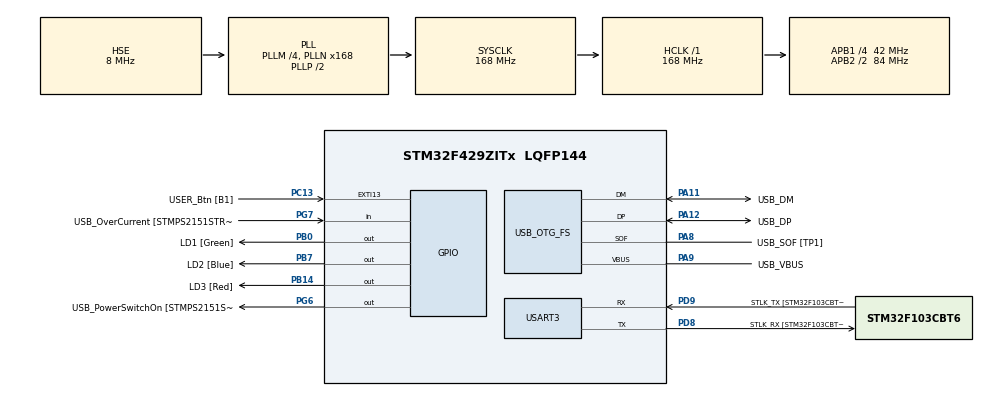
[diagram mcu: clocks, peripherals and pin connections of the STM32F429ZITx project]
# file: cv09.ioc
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Mcu.Family=STM32F4
Mcu.Name=STM32F429ZITx
Mcu.Package=LQFP144
NVIC.OTG_FS_IRQn=true\:0\:0\:false\:false\:true\:false\:true
NVIC.PriorityGroup=NVIC_PRIORITYGROUP_4
PA1.GPIO_Label=RMII_REF_CLK [LAN8742A-CZ-TR_REFCLK0]
PA1.Signal=ETH_REF_CLK
PA10.GPIO_Label=USB_ID
PA10.Signal=USB_OTG_FS_ID
PA11.GPIO_Label=USB_DM
PA11.Mode=Device_Only
PA11.Signal=USB_OTG_FS_DM
PA12.GPIO_Label=USB_DP
PA12.Mode=Device_Only
PA12.Signal=USB_OTG_FS_DP
PA13.GPIO_Label=TMS
PA13.Mode=Serial_Wire
PA13.Signal=SYS_JTMS-SWDIO
PA14.GPIO_Label=TCK
PA14.Mode=Serial_Wire
PA14.Signal=SYS_JTCK-SWCLK
PA2.GPIO_Label=RMII_MDIO [LAN8742A-CZ-TR_MDIO]
PA2.Signal=ETH_MDIO
PA7.GPIO_Label=RMII_CRS_DV [LAN8742A-CZ-TR_CRS_DV]
PA7.Signal=ETH_CRS_DV
PA8.GPIO_Label=USB_SOF [TP1]
PA8.Mode=Activate_SOF_FS
PA8.Signal=USB_OTG_FS_SOF
PA9.GPIO_Label=USB_VBUS
PA9.Mode=Activate_VBUS
PA9.Signal=USB_OTG_FS_VBUS
PB0.GPIO_Label=LD1 [Green]
PB0.Signal=GPIO_Output
PB13.GPIO_Label=RMII_TXD1 [LAN8742A-CZ-TR_TXD1]
PB13.Signal=ETH_TXD1
PB14.GPIO_Label=LD3 [Red]
PB14.Signal=GPIO_Output
PB7.GPIO_Label=LD2 [Blue]
PB7.Signal=GPIO_Output
PC1.GPIO_Label=RMII_MDC [LAN8742A-CZ-TR_MDC]
PC1.Signal=ETH_MDC
PC13.GPIO_Label=USER_Btn [B1]
PC13.Signal=GPXTI13
PC14/OSC32_IN.Mode=LSE-External-Oscillator
PC14/OSC32_IN.Signal=RCC_OSC32_IN
PC15/OSC32_OUT.Mode=LSE-External-Oscillator
PC15/OSC32_OUT.Signal=RCC_OSC32_OUT
PC4.GPIO_Label=RMII_RXD0 [LAN8742A-CZ-TR_RXD0]
PC4.Signal=ETH_RXD0
PC5.GPIO_Label=RMII_RXD1 [LAN8742A-CZ-TR_RXD1]
PC5.Signal=ETH_RXD1
PD8.GPIO_Label=STLK_RX [STM32F103CBT6_PA3]
PD8.Mode=Asynchronous
PD8.Signal=USART3_TX
PD9.GPIO_Label=STLK_TX [STM32F103CBT6_PA2]
PD9.Mode=Asynchronous
PD9.Signal=USART3_RX
PG11.GPIO_Label=RMII_TX_EN [LAN8742A-CZ-TR_TXEN]
PG11.Signal=ETH_TX_EN
PG13.GPIO_Label=RMII_TXD0 [LAN8742A-CZ-TR_TXD0]
PG13.Signal=ETH_TXD0
PG6.GPIO_Label=USB_PowerSwitchOn [STMPS2151STR_EN]
PG6.Signal=GPIO_Output
PG7.GPIO_Label=USB_OverCurrent [STMPS2151STR_FAULT]
PG7.Signal=GPIO_Input
PH0/OSC_IN.GPIO_Label=MCO [STM32F103CBT6_PA8]
PH0/OSC_IN.Mode=HSE-External-Clock-Source
PH0/OSC_IN.Signal=RCC_OSC_IN
PH1/OSC_OUT.Mode=HSE-External-Clock-Source
PH1/OSC_OUT.Signal=RCC_OSC_OUT
ProjectManager.HeapSize=0x200
ProjectManager.StackSize=0x400
ProjectManager.TargetToolchain=STM32CubeIDE
RCC.48MHZClocksFreq_Value=48000000
RCC.AHBFreq_Value=168000000
RCC.APB1CLKDivider=RCC_HCLK_DIV4
RCC.APB1Freq_Value=42000000
RCC.APB1TimFreq_Value=84000000
RCC.APB2CLKDivider=RCC_HCLK_DIV2
RCC.APB2Freq_Value=84000000
RCC.APB2TimCLKDivider=2
RCC.APB2TimFreq_Value=168000000
RCC.CortexFreq_Value=168000000
RCC.HCLKFreq_Value=168000000
RCC.HSE_VALUE=8000000
RCC.HSI_VALUE=16000000
RCC.PLLM=4
RCC.PLLMUL=RCC_PLL_MUL9
RCC.PLLN=168
RCC.PLLQ=7
RCC.PRESCALERUSB=RCC_USBCLKSOURCE_PLL_DIV1_5
RCC.SYSCLKFreq_VALUE=168000000
RCC.SYSCLKSource=RCC_SYSCLKSOURCE_PLLCLK
RCC.SYSCLKSourceVirtual=RCC_SYSCLKSOURCE_PLLCLK
RCC.USBFreq_Value=48000000
RCC.VCOOutputFreq_Value=336000000
USART3.VirtualMode=VM_ASYNC
USB_DEVICE.CLASS_NAME_FS=HID
USB_DEVICE.VirtualMode-HID_FS=Hid
USB_DEVICE.VirtualModeFS=Hid_FS
USB_OTG_FS.VirtualMode=Device_Only
VP_USB_DEVICE_VS_USB_DEVICE_HID_FS.Mode=HID_FS
board=NUCLEO-F429ZI

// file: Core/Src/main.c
/* USER CODE BEGIN Header */
/**
  ******************************************************************************
  * @file           : main.c
  * @brief          : Main program body
  ******************************************************************************
  * @attention
  *
  * <h2><center>&copy; Copyright (c) 2021 STMicroelectronics.
  * All rights reserved.</center></h2>
  *
  * This software component is licensed by ST under BSD 3-Clause license,
  * the "License"; You may not use this file except in compliance with the
  * License. You may obtain a copy of the License at:
  *                        opensource.org/licenses/BSD-3-Clause
  *
  ******************************************************************************
  */
/* USER CODE END Header */
#include "main.h"
#include "usb_device.h"

/* USER CODE BEGIN Includes */
#include <math.h>
#include <stdbool.h>
#include "usbd_hid.h"
/* USER CODE END Includes */

UART_HandleTypeDef huart3;

void SystemClock_Config(void);
static void MX_GPIO_Init(void);
static void MX_USART3_UART_Init(void);
/* USER CODE BEGIN PFP */
void step(int32_t dx, int32_t dy, bool lBtn);
void drawCircle(uint8_t r, uint16_t startAngle, uint16_t endAngle, bool lBtn);
/* USER CODE END PFP */

/* USER CODE BEGIN 0 */
extern USBD_HandleTypeDef hUsbDeviceFS;
/* USER CODE END 0 */

int main(void)
{

  /* MCU Configuration--------------------------------------------------------*/

  /* Reset of all peripherals, Initializes the Flash interface and the Systick. */
  HAL_Init();

  /* Configure the system clock */
  SystemClock_Config();

  /* Initialize all configured peripherals */
  MX_GPIO_Init();
  MX_USART3_UART_Init();
  MX_USB_DEVICE_Init();

  /* Infinite loop */
  while (1)
  {
	  if(HAL_GPIO_ReadPin(USER_Btn_GPIO_Port, USER_Btn_Pin)) {
		  // draw smiley face
		  drawCircle(100, 0, 360, 1); // draw main circle
		  step(0, 0, 0); // force release left mouse button

		  step(0, 50, 0); // move to bottom of nose line
		  step(0, 15, 1); // draw nose line
		  step(0, 0, 0); // force release LMB

		  step(30, 0, 0); // move to start point of right eye
		  drawCircle(20, 0, 360, 1);
		  step(0, 0, 0); // force release LMB
		  step(-40, 0, 0); // move to top of nose line
		  step(-40, 0, 0); // move to start point of left eye
		  drawCircle(20, 0, 360, 1);
		  step(40, 0, 0); // return to top of nose line
		  step(0, 0, 0); // force release LMB

		  step(0, 0, 0); // force release LMB
		  step(0, -15, 0); // return to bottom of nose line
		  step(0, -50, 0); // return to bottom of main circle

		  drawCircle(70, 0, -90, 1); // draw left arc of mouth
		  step(0, 0, 0); // release LMB
		  drawCircle(70, 270, 360, 0); // return to bottom point of the main circle
		  drawCircle(70, 0, 90, 1); // draw right arc of mouth

	  }
  }
}

void SystemClock_Config(void)
{
  RCC_OscInitTypeDef RCC_OscInitStruct = {0};
  RCC_ClkInitTypeDef RCC_ClkInitStruct = {0};

  /** Configure the main internal regulator output voltage
  */
  __HAL_RCC_PWR_CLK_ENABLE();
  __HAL_PWR_VOLTAGESCALING_CONFIG(PWR_REGULATOR_VOLTAGE_SCALE1);
  /** Initializes the RCC Oscillators according to the specified parameters
  * in the RCC_OscInitTypeDef structure.
  */
  RCC_OscInitStruct.OscillatorType = RCC_OSCILLATORTYPE_HSE;
  RCC_OscInitStruct.HSEState = RCC_HSE_BYPASS;
  RCC_OscInitStruct.PLL.PLLState = RCC_PLL_ON;
  RCC_OscInitStruct.PLL.PLLSource = RCC_PLLSOURCE_HSE;
  RCC_OscInitStruct.PLL.PLLM = 4;
  RCC_OscInitStruct.PLL.PLLN = 168;
  RCC_OscInitStruct.PLL.PLLP = RCC_PLLP_DIV2;
  RCC_OscInitStruct.PLL.PLLQ = 7;
  if (HAL_RCC_OscConfig(&RCC_OscInitStruct) != HAL_OK)
  {
    Error_Handler();
  }
  /** Initializes the CPU, AHB and APB buses clocks
  */
  RCC_ClkInitStruct.ClockType = RCC_CLOCKTYPE_HCLK|RCC_CLOCKTYPE_SYSCLK
                              |RCC_CLOCKTYPE_PCLK1|RCC_CLOCKTYPE_PCLK2;
  RCC_ClkInitStruct.SYSCLKSource = RCC_SYSCLKSOURCE_PLLCLK;
  RCC_ClkInitStruct.AHBCLKDivider = RCC_SYSCLK_DIV1;
  RCC_ClkInitStruct.APB1CLKDivider = RCC_HCLK_DIV4;
  RCC_ClkInitStruct.APB2CLKDivider = RCC_HCLK_DIV2;

  if (HAL_RCC_ClockConfig(&RCC_ClkInitStruct, FLASH_LATENCY_5) != HAL_OK)
  {
    Error_Handler();
  }
}

static void MX_USART3_UART_Init(void)
{

  huart3.Instance = USART3;
  huart3.Init.BaudRate = 115200;
  huart3.Init.WordLength = UART_WORDLENGTH_8B;
  huart3.Init.StopBits = UART_STOPBITS_1;
  huart3.Init.Parity = UART_PARITY_NONE;
  huart3.Init.Mode = UART_MODE_TX_RX;
  huart3.Init.HwFlowCtl = UART_HWCONTROL_NONE;
  huart3.Init.OverSampling = UART_OVERSAMPLING_16;
  if (HAL_UART_Init(&huart3) != HAL_OK)
  {
    Error_Handler();
  }

}

static void MX_GPIO_Init(void)
{
  GPIO_InitTypeDef GPIO_InitStruct = {0};

  /* GPIO Ports Clock Enable */
  __HAL_RCC_GPIOC_CLK_ENABLE();
  __HAL_RCC_GPIOH_CLK_ENABLE();
  __HAL_RCC_GPIOA_CLK_ENABLE();
  __HAL_RCC_GPIOB_CLK_ENABLE();
  __HAL_RCC_GPIOD_CLK_ENABLE();
  __HAL_RCC_GPIOG_CLK_ENABLE();

  /*Configure GPIO pin Output Level */
  HAL_GPIO_WritePin(GPIOB, LD1_Pin|LD3_Pin|LD2_Pin, GPIO_PIN_RESET);

  /*Configure GPIO pin Output Level */
  HAL_GPIO_WritePin(USB_PowerSwitchOn_GPIO_Port, USB_PowerSwitchOn_Pin, GPIO_PIN_RESET);

  /*Configure GPIO pin : USER_Btn_Pin */
  GPIO_InitStruct.Pin = USER_Btn_Pin;
  GPIO_InitStruct.Mode = GPIO_MODE_IT_RISING;
  GPIO_InitStruct.Pull = GPIO_NOPULL;
  HAL_GPIO_Init(USER_Btn_GPIO_Port, &GPIO_InitStruct);

  /*Configure GPIO pins : RMII_MDC_Pin RMII_RXD0_Pin RMII_RXD1_Pin */
  GPIO_InitStruct.Pin = RMII_MDC_Pin|RMII_RXD0_Pin|RMII_RXD1_Pin;
  GPIO_InitStruct.Mode = GPIO_MODE_AF_PP;
  GPIO_InitStruct.Pull = GPIO_NOPULL;
  GPIO_InitStruct.Speed = GPIO_SPEED_FREQ_VERY_HIGH;
  GPIO_InitStruct.Alternate = GPIO_AF11_ETH;
  HAL_GPIO_Init(GPIOC, &GPIO_InitStruct);

  /*Configure GPIO pins : RMII_REF_CLK_Pin RMII_MDIO_Pin RMII_CRS_DV_Pin */
  GPIO_InitStruct.Pin = RMII_REF_CLK_Pin|RMII_MDIO_Pin|RMII_CRS_DV_Pin;
  GPIO_InitStruct.Mode = GPIO_MODE_AF_PP;
  GPIO_InitStruct.Pull = GPIO_NOPULL;
  GPIO_InitStruct.Speed = GPIO_SPEED_FREQ_VERY_HIGH;
  GPIO_InitStruct.Alternate = GPIO_AF11_ETH;
  HAL_GPIO_Init(GPIOA, &GPIO_InitStruct);

  /*Configure GPIO pins : LD1_Pin LD3_Pin LD2_Pin */
  GPIO_InitStruct.Pin = LD1_Pin|LD3_Pin|LD2_Pin;
  GPIO_InitStruct.Mode = GPIO_MODE_OUTPUT_PP;
  GPIO_InitStruct.Pull = GPIO_NOPULL;
  GPIO_InitStruct.Speed = GPIO_SPEED_FREQ_LOW;
  HAL_GPIO_Init(GPIOB, &GPIO_InitStruct);

  /*Configure GPIO pin : RMII_TXD1_Pin */
  GPIO_InitStruct.Pin = RMII_TXD1_Pin;
  GPIO_InitStruct.Mode = GPIO_MODE_AF_PP;
  GPIO_InitStruct.Pull = GPIO_NOPULL;
  GPIO_InitStruct.Speed = GPIO_SPEED_FREQ_VERY_HIGH;
  GPIO_InitStruct.Alternate = GPIO_AF11_ETH;
  HAL_GPIO_Init(RMII_TXD1_GPIO_Port, &GPIO_InitStruct);

  /*Configure GPIO pin : USB_PowerSwitchOn_Pin */
  GPIO_InitStruct.Pin = USB_PowerSwitchOn_Pin;
  GPIO_InitStruct.Mode = GPIO_MODE_OUTPUT_PP;
  GPIO_InitStruct.Pull = GPIO_NOPULL;
  GPIO_InitStruct.Speed = GPIO_SPEED_FREQ_LOW;
  HAL_GPIO_Init(USB_PowerSwitchOn_GPIO_Port, &GPIO_InitStruct);

  /*Configure GPIO pin : USB_OverCurrent_Pin */
  GPIO_InitStruct.Pin = USB_OverCurrent_Pin;
  GPIO_InitStruct.Mode = GPIO_MODE_INPUT;
  GPIO_InitStruct.Pull = GPIO_NOPULL;
  HAL_GPIO_Init(USB_OverCurrent_GPIO_Port, &GPIO_InitStruct);

  /*Configure GPIO pins : RMII_TX_EN_Pin RMII_TXD0_Pin */
  GPIO_InitStruct.Pin = RMII_TX_EN_Pin|RMII_TXD0_Pin;
  GPIO_InitStruct.Mode = GPIO_MODE_AF_PP;
  GPIO_InitStruct.Pull = GPIO_NOPULL;
  GPIO_InitStruct.Speed = GPIO_SPEED_FREQ_VERY_HIGH;
  GPIO_InitStruct.Alternate = GPIO_AF11_ETH;
  HAL_GPIO_Init(GPIOG, &GPIO_InitStruct);

}

/* USER CODE BEGIN 4 */
void step(int32_t dx, int32_t dy, bool lBtn)
{
	uint8_t buff[4];
	buff[0] = 0x00;
	if (lBtn) buff[0] = 0x01;

	buff[1] = (int8_t)(dx);
	buff[2] = (int8_t)(dy);
	buff[3] = 0;
	USBD_HID_SendReport(&hUsbDeviceFS, buff, sizeof(buff));
	HAL_Delay(USBD_HID_GetPollingInterval(&hUsbDeviceFS));
}

void drawCircle(uint8_t r, uint16_t startAngle, uint16_t endAngle, bool lBtn)
{

	float sx = 0;	// value before step for x
	float sy = 0; 	// value before step for y
	float x = 0; 	// value after step for x
	float y = 0; 	// value after step for y
	int32_t dx = 0; // delta of x fed into step function
	int32_t dy = 0; // delta of y fed into step function

	for (uint32_t i = startAngle; i < endAngle; i = i+10)
		{
			sx = x; // save temp value of x
			sy = y; // save temp value of y
			x = r * cos((M_PI * i) / 180);
			y = r * sin((M_PI * i) / 180);
			dx = sx - x; // evaluate mouse movement delta for x
			dy = sy - y; // evaluate mouse movement delta for y
			step(dx, dy, lBtn); // send report over USB
		}
}
/* USER CODE END 4 */

void Error_Handler(void)
{
  __disable_irq();
  while (1)
  {
  }
}

/************************ (C) COPYRIGHT STMicroelectronics *****END OF FILE****/
